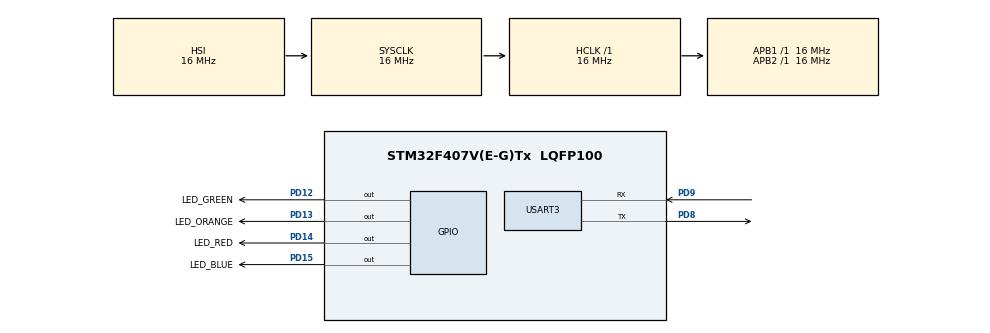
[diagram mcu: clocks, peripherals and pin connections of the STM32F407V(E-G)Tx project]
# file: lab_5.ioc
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Mcu.Family=STM32F4
Mcu.Name=STM32F407V(E-G)Tx
Mcu.Package=LQFP100
NVIC.PriorityGroup=NVIC_PRIORITYGROUP_4
PD12.GPIO_Label=LED_GREEN
PD12.Signal=GPIO_Output
PD13.GPIO_Label=LED_ORANGE
PD13.Signal=GPIO_Output
PD14.GPIO_Label=LED_RED
PD14.Signal=GPIO_Output
PD15.GPIO_Label=LED_BLUE
PD15.Signal=GPIO_Output
PD8.Mode=Asynchronous
PD8.Signal=USART3_TX
PD9.Mode=Asynchronous
PD9.Signal=USART3_RX
ProjectManager.HeapSize=0x200
ProjectManager.StackSize=0x400
ProjectManager.TargetToolchain=STM32CubeIDE
RCC.AHBFreq_Value=16000000
RCC.APB1Freq_Value=16000000
RCC.APB2Freq_Value=16000000
RCC.CortexFreq_Value=16000000
RCC.HSE_VALUE=25000000
RCC.HSI_VALUE=16000000
RCC.LSE_VALUE=32768
RCC.SYSCLKFreq_VALUE=16000000
RCC.VCOOutputFreq_Value=192000000
USART3.VirtualMode=VM_ASYNC
board=custom

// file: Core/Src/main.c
/* USER CODE BEGIN Header */
/**
  ******************************************************************************
  * @file           : main.c
  * @brief          : Main program body
  ******************************************************************************
  * @attention
  *
  * Copyright (c) 2023 STMicroelectronics.
  * All rights reserved.
  *
  * This software is licensed under terms that can be found in the LICENSE file
  * in the root directory of this software component.
  * If no LICENSE file comes with this software, it is provided AS-IS.
  *
  ******************************************************************************
  */
/* USER CODE END Header */
#include "main.h"

UART_HandleTypeDef huart3;

void SystemClock_Config(void);
static void MX_GPIO_Init(void);
static void MX_USART3_UART_Init(void);

int main(void)
{

  /* MCU Configuration--------------------------------------------------------*/

  /* Reset of all peripherals, Initializes the Flash interface and the Systick. */
  HAL_Init();

  /* Configure the system clock */
  SystemClock_Config();

  /* Initialize all configured peripherals */
  MX_GPIO_Init();
  MX_USART3_UART_Init();

  /* Infinite loop */
  /* USER CODE BEGIN WHILE */
  while (1)
  {
	  uint8_t rcvBuf[1];
	  HAL_StatusTypeDef result;

	  result = HAL_UART_Receive(&huart3, rcvBuf, 1, 10);

	  if (result == HAL_OK)
	  {
		  switch (rcvBuf[0])
		  {
		  	  case 'g':
				  HAL_GPIO_WritePin(LED_GREEN_GPIO_Port, LED_GREEN_Pin, GPIO_PIN_SET);
				  HAL_UART_Transmit(&huart3, (uint8_t *) " - Green ON\r\n", 13, 100);
				  break;
			  case 'G':
				  HAL_GPIO_WritePin(LED_GREEN_GPIO_Port, LED_GREEN_Pin, GPIO_PIN_RESET);
				  HAL_UART_Transmit(&huart3, (uint8_t *) " - Green OFF\r\n", 14, 100);
				  break;
			  case 'o':
				  HAL_GPIO_WritePin(LED_ORANGE_GPIO_Port, LED_ORANGE_Pin, GPIO_PIN_SET);
				  HAL_UART_Transmit(&huart3, (uint8_t *) " - Orange ON\r\n", 14, 100);
				  break;
			  case 'O':
				  HAL_GPIO_WritePin(LED_ORANGE_GPIO_Port, LED_ORANGE_Pin, GPIO_PIN_RESET);
				  HAL_UART_Transmit(&huart3, (uint8_t *) " - Orange OFF\r\n", 15, 100);
				  break;
			  case 'r':
				  HAL_GPIO_WritePin(LED_RED_GPIO_Port, LED_RED_Pin, GPIO_PIN_SET);
				  HAL_UART_Transmit(&huart3, (uint8_t *) " - Red ON\r\n", 11, 100);
				  break;
			  case 'R':
				  HAL_GPIO_WritePin(LED_RED_GPIO_Port, LED_RED_Pin, GPIO_PIN_RESET);
				  HAL_UART_Transmit(&huart3, (uint8_t *) " - Red OFF\r\n", 12, 100);
				  break;
		  	  case 'b':
		  		  HAL_GPIO_WritePin(LED_BLUE_GPIO_Port, LED_BLUE_Pin, GPIO_PIN_SET);
		  		  HAL_UART_Transmit(&huart3, (uint8_t *) " - Blue ON\r\n", 12, 100);
		  		  break;
		  	  case 'B':
				  HAL_GPIO_WritePin(LED_BLUE_GPIO_Port, LED_BLUE_Pin, GPIO_PIN_RESET);
				  HAL_UART_Transmit(&huart3, (uint8_t *) " - Blue OFF\r\n", 13, 100);
				  break;
		  	  case 'a':
		  		  HAL_GPIO_WritePin(LED_GREEN_GPIO_Port, LED_GREEN_Pin, GPIO_PIN_SET);
		  		  HAL_GPIO_WritePin(LED_ORANGE_GPIO_Port, LED_ORANGE_Pin, GPIO_PIN_SET);
				  HAL_GPIO_WritePin(LED_RED_GPIO_Port, LED_RED_Pin, GPIO_PIN_SET);
				  HAL_GPIO_WritePin(LED_BLUE_GPIO_Port, LED_BLUE_Pin, GPIO_PIN_SET);
				  HAL_UART_Transmit(&huart3, (uint8_t *) " - All ON\r\n", 11, 100);
				  break;
			  case 'n':
				  HAL_GPIO_WritePin(LED_GREEN_GPIO_Port, LED_GREEN_Pin, GPIO_PIN_RESET);
				  HAL_GPIO_WritePin(LED_ORANGE_GPIO_Port, LED_ORANGE_Pin, GPIO_PIN_RESET);
				  HAL_GPIO_WritePin(LED_RED_GPIO_Port, LED_RED_Pin, GPIO_PIN_RESET);
				  HAL_GPIO_WritePin(LED_BLUE_GPIO_Port, LED_BLUE_Pin, GPIO_PIN_RESET);
				  HAL_UART_Transmit(&huart3, (uint8_t *) " - All OFF\r\n", 12, 100);
				  break;
		  	  default:
				  HAL_UART_Transmit(&huart3, (uint8_t *) " - UnexpCmd\r\n", 13, 100);
				  break;
		  }
	  }
    /* USER CODE END WHILE */

  }
}

void SystemClock_Config(void)
{
  RCC_OscInitTypeDef RCC_OscInitStruct = {0};
  RCC_ClkInitTypeDef RCC_ClkInitStruct = {0};

  /** Configure the main internal regulator output voltage
  */
  __HAL_RCC_PWR_CLK_ENABLE();
  __HAL_PWR_VOLTAGESCALING_CONFIG(PWR_REGULATOR_VOLTAGE_SCALE1);

  /** Initializes the RCC Oscillators according to the specified parameters
  * in the RCC_OscInitTypeDef structure.
  */
  RCC_OscInitStruct.OscillatorType = RCC_OSCILLATORTYPE_HSI;
  RCC_OscInitStruct.HSIState = RCC_HSI_ON;
  RCC_OscInitStruct.HSICalibrationValue = RCC_HSICALIBRATION_DEFAULT;
  RCC_OscInitStruct.PLL.PLLState = RCC_PLL_NONE;
  if (HAL_RCC_OscConfig(&RCC_OscInitStruct) != HAL_OK)
  {
    Error_Handler();
  }

  /** Initializes the CPU, AHB and APB buses clocks
  */
  RCC_ClkInitStruct.ClockType = RCC_CLOCKTYPE_HCLK|RCC_CLOCKTYPE_SYSCLK
                              |RCC_CLOCKTYPE_PCLK1|RCC_CLOCKTYPE_PCLK2;
  RCC_ClkInitStruct.SYSCLKSource = RCC_SYSCLKSOURCE_HSI;
  RCC_ClkInitStruct.AHBCLKDivider = RCC_SYSCLK_DIV1;
  RCC_ClkInitStruct.APB1CLKDivider = RCC_HCLK_DIV1;
  RCC_ClkInitStruct.APB2CLKDivider = RCC_HCLK_DIV1;

  if (HAL_RCC_ClockConfig(&RCC_ClkInitStruct, FLASH_LATENCY_0) != HAL_OK)
  {
    Error_Handler();
  }
}

static void MX_USART3_UART_Init(void)
{

  huart3.Instance = USART3;
  huart3.Init.BaudRate = 115200;
  huart3.Init.WordLength = UART_WORDLENGTH_8B;
  huart3.Init.StopBits = UART_STOPBITS_1;
  huart3.Init.Parity = UART_PARITY_NONE;
  huart3.Init.Mode = UART_MODE_TX_RX;
  huart3.Init.HwFlowCtl = UART_HWCONTROL_NONE;
  huart3.Init.OverSampling = UART_OVERSAMPLING_16;
  if (HAL_UART_Init(&huart3) != HAL_OK)
  {
    Error_Handler();
  }

}

static void MX_GPIO_Init(void)
{
  GPIO_InitTypeDef GPIO_InitStruct = {0};

  /* GPIO Ports Clock Enable */
  __HAL_RCC_GPIOD_CLK_ENABLE();

  /*Configure GPIO pin Output Level */
  HAL_GPIO_WritePin(GPIOD, LED_GREEN_Pin|LED_ORANGE_Pin|LED_RED_Pin|LED_BLUE_Pin, GPIO_PIN_RESET);

  /*Configure GPIO pins : LED_GREEN_Pin LED_ORANGE_Pin LED_RED_Pin LED_BLUE_Pin */
  GPIO_InitStruct.Pin = LED_GREEN_Pin|LED_ORANGE_Pin|LED_RED_Pin|LED_BLUE_Pin;
  GPIO_InitStruct.Mode = GPIO_MODE_OUTPUT_PP;
  GPIO_InitStruct.Pull = GPIO_NOPULL;
  GPIO_InitStruct.Speed = GPIO_SPEED_FREQ_LOW;
  HAL_GPIO_Init(GPIOD, &GPIO_InitStruct);

}

void Error_Handler(void)
{
  __disable_irq();
  while (1)
  {
  }
}
